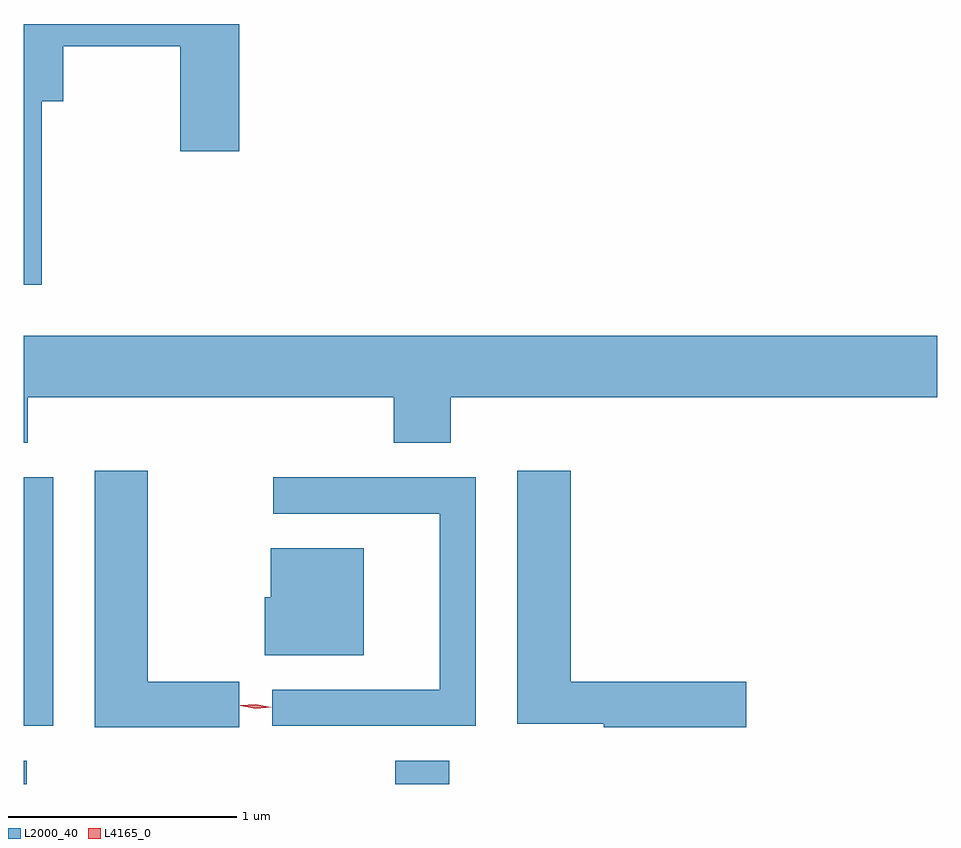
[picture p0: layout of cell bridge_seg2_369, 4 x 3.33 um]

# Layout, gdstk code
import gdstk
lib = gdstk.Library(unit=1e-6, precision=1e-09)
def R(c, l, rs):  # rectangles x0, y0, x1, y1
    for r in rs: c.add(gdstk.rectangle(r[:2], r[2:], *l))
def P(c, l, *ps):  # polygons
    for p in ps: c.add(gdstk.Polygon(p, *l))
L2000_40 = (2000, 40)
L4165_0 = (4165, 0)

bridge_seg2_369 = lib.new_cell('bridge_seg2_369')
R(bridge_seg2_369, L2000_40, [(597.53,977.802,597.544,977.904), (599.156,977.802,599.394,977.904), (597.53,978.056,597.659,979.144)])
P(bridge_seg2_369, L2000_40, [(597.609,980.791),(597.704,980.791),(597.704,981.031),(598.216,981.031),(598.216,980.571),(598.474,980.571),(598.474,981.129),(597.53,981.129),(597.53,979.988),(597.609,979.988)],
  [(597.549,979.496),(599.151,979.496),(599.151,979.296),(599.399,979.296),(599.399,979.496),(601.53,979.496),(601.53,979.764),(597.53,979.764),(597.53,979.296),(597.549,979.296)],
  [(600.694,978.249),(599.924,978.249),(599.924,979.174),(599.691,979.174),(599.691,978.066),(600.07,978.066),(600.07,978.051),(600.694,978.051)],
  [(598.474,978.249),(598.074,978.249),(598.074,979.174),(597.841,979.174),(597.841,978.051),(598.474,978.051)],
  [(599.509,979.144),(598.623,979.144),(598.623,978.986),(599.351,978.986),(599.351,978.214),(598.618,978.214),(598.618,978.056),(599.509,978.056)],
  [(599.019,978.834),(598.611,978.834),(598.611,978.619),(598.586,978.619),(598.586,978.366),(599.019,978.366)])
P(bridge_seg2_369, L4165_0, [(598.546,978.132),(598.481,978.145),(598.481,978.145),(598.481,978.146),(598.547,978.152),(598.612,978.138),(598.612,978.138),(598.612,978.137)],
  [(598.546,978.132),(598.478,978.145),(598.478,978.145),(598.478,978.146),(598.547,978.152),(598.615,978.139),(598.615,978.139),(598.615,978.138)])

lib.write_gds('bridge_seg2_369.gds')
